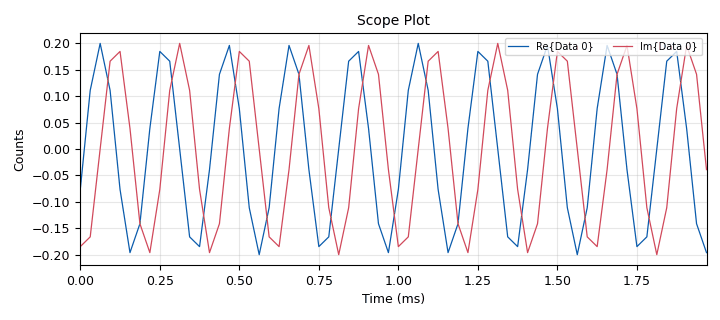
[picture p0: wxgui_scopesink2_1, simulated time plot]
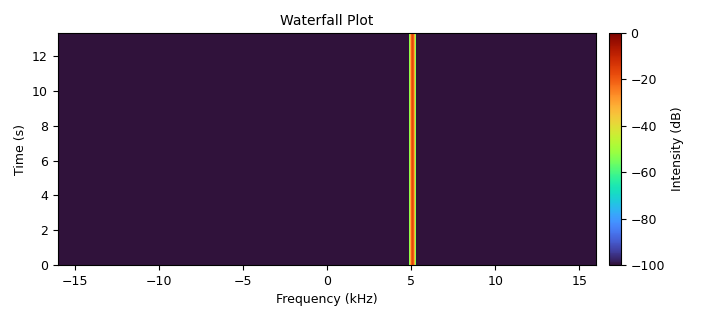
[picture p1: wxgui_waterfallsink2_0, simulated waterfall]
<?xml version='1.0' encoding='utf-8'?>
<?grc format='1' created='3.7.11'?>
<flow_graph>
<block>
<key>options</key>
<param><key>id</key><value>top_block</value></param>
<param><key>generate_options</key><value>wx_gui</value></param>
</block>
<block>
<key>variable_slider</key>
<param><key>id</key><value>amp</value></param>
<param><key>converver</key><value>float_converter</value></param>
<param><key>value</key><value>0.2</value></param>
<param><key>label</key><value></value></param>
<param><key>max</key><value>1</value></param>
<param><key>min</key><value>0</value></param>
<param><key>num_steps</key><value>1000</value></param>
<param><key>style</key><value>wx.SL_HORIZONTAL</value></param>
</block>
<block>
<key>variable_slider</key>
<param><key>id</key><value>freq</value></param>
<param><key>converver</key><value>float_converter</value></param>
<param><key>value</key><value>5000</value></param>
<param><key>label</key><value></value></param>
<param><key>max</key><value>10000</value></param>
<param><key>min</key><value>1</value></param>
<param><key>num_steps</key><value>100</value></param>
<param><key>style</key><value>wx.SL_HORIZONTAL</value></param>
</block>
<block>
<key>variable</key>
<param><key>id</key><value>samp_rate</value></param>
<param><key>value</key><value>32000</value></param>
</block>
<block>
<key>variable_static_text</key>
<param><key>id</key><value>variable_static_text_0</value></param>
<param><key>converver</key><value>float_converter</value></param>
<param><key>value</key><value>0</value></param>
<param><key>formatter</key><value>None</value></param>
<param><key>label</key><value>Hello</value></param>
</block>
<block>
<key>analog_sig_source_x</key>
<param><key>id</key><value>analog_sig_source_x_0</value></param>
<param><key>amp</key><value>1</value></param>
<param><key>freq</key><value>freq</value></param>
<param><key>offset</key><value>0</value></param>
<param><key>type</key><value>complex</value></param>
<param><key>samp_rate</key><value>samp_rate</value></param>
<param><key>waveform</key><value>analog.GR_COS_WAVE</value></param>
</block>
<block>
<key>audio_sink</key>
<param><key>id</key><value>audio_sink_0</value></param>
<param><key>samp_rate</key><value>samp_rate</value></param>
</block>
<block>
<key>blocks_complex_to_real</key>
<param><key>id</key><value>blocks_complex_to_real_0</value></param>
</block>
<block>
<key>blocks_float_to_complex</key>
<param><key>id</key><value>blocks_float_to_complex_0</value></param>
<param><key>_enabled</key><value>0</value></param>
</block>
<block>
<key>blocks_multiply_const_vxx</key>
<param><key>id</key><value>blocks_multiply_const_vxx_0</value></param>
<param><key>const</key><value>amp</value></param>
<param><key>type</key><value>complex</value></param>
</block>
<block>
<key>blocks_throttle</key>
<param><key>id</key><value>blocks_throttle_0</value></param>
<param><key>samples_per_second</key><value>samp_rate</value></param>
<param><key>type</key><value>complex</value></param>
</block>
<block>
<key>blocks_wavfile_source</key>
<param><key>id</key><value>blocks_wavfile_source_0</value></param>
<param><key>_enabled</key><value>0</value></param>
<param><key>file</key><value>/Users/shahab/Public/Seafile/My Library/satttie.wav</value></param>
<param><key>repeat</key><value>False</value></param>
</block>
<block>
<key>wxgui_scopesink2</key>
<param><key>id</key><value>wxgui_scopesink2_1</value></param>
<param><key>ac_couple</key><value>False</value></param>
<param><key>num_inputs</key><value>1</value></param>
<param><key>samp_rate</key><value>samp_rate</value></param>
<param><key>t_scale</key><value>0</value></param>
<param><key>title</key><value>Scope Plot</value></param>
<param><key>trig_mode</key><value>wxgui.TRIG_MODE_AUTO</value></param>
<param><key>type</key><value>complex</value></param>
<param><key>v_offset</key><value>0</value></param>
<param><key>v_scale</key><value>0</value></param>
<param><key>xy_mode</key><value>False</value></param>
<param><key>y_axis_label</key><value>Counts</value></param>
</block>
<block>
<key>wxgui_waterfallsink2</key>
<param><key>id</key><value>wxgui_waterfallsink2_0</value></param>
<param><key>avg_alpha</key><value>0</value></param>
<param><key>average</key><value>False</value></param>
<param><key>baseband_freq</key><value>0</value></param>
<param><key>dynamic_range</key><value>100</value></param>
<param><key>fft_rate</key><value>15</value></param>
<param><key>fft_size</key><value>512</value></param>
<param><key>freqvar</key><value>None</value></param>
<param><key>ref_scale</key><value>2.0</value></param>
<param><key>ref_level</key><value>0</value></param>
<param><key>samp_rate</key><value>samp_rate</value></param>
<param><key>title</key><value>Waterfall Plot</value></param>
<param><key>type</key><value>complex</value></param>
<param><key>win</key><value>None</value></param>
</block>
<connection><source_block_id>analog_sig_source_x_0</source_block_id><sink_block_id>blocks_throttle_0</sink_block_id><source_key>0</source_key><sink_key>0</sink_key></connection>
<connection><source_block_id>blocks_complex_to_real_0</source_block_id><sink_block_id>audio_sink_0</sink_block_id><source_key>0</source_key><sink_key>0</sink_key></connection>
<connection><source_block_id>blocks_float_to_complex_0</source_block_id><sink_block_id>blocks_throttle_0</sink_block_id><source_key>0</source_key><sink_key>0</sink_key></connection>
<connection><source_block_id>blocks_multiply_const_vxx_0</source_block_id><sink_block_id>blocks_complex_to_real_0</sink_block_id><source_key>0</source_key><sink_key>0</sink_key></connection>
<connection><source_block_id>blocks_multiply_const_vxx_0</source_block_id><sink_block_id>wxgui_scopesink2_1</sink_block_id><source_key>0</source_key><sink_key>0</sink_key></connection>
<connection><source_block_id>blocks_multiply_const_vxx_0</source_block_id><sink_block_id>wxgui_waterfallsink2_0</sink_block_id><source_key>0</source_key><sink_key>0</sink_key></connection>
<connection><source_block_id>blocks_throttle_0</source_block_id><sink_block_id>blocks_multiply_const_vxx_0</sink_block_id><source_key>0</source_key><sink_key>0</sink_key></connection>
<connection><source_block_id>blocks_wavfile_source_0</source_block_id><sink_block_id>blocks_float_to_complex_0</sink_block_id><source_key>0</source_key><sink_key>0</sink_key></connection>
</flow_graph>
